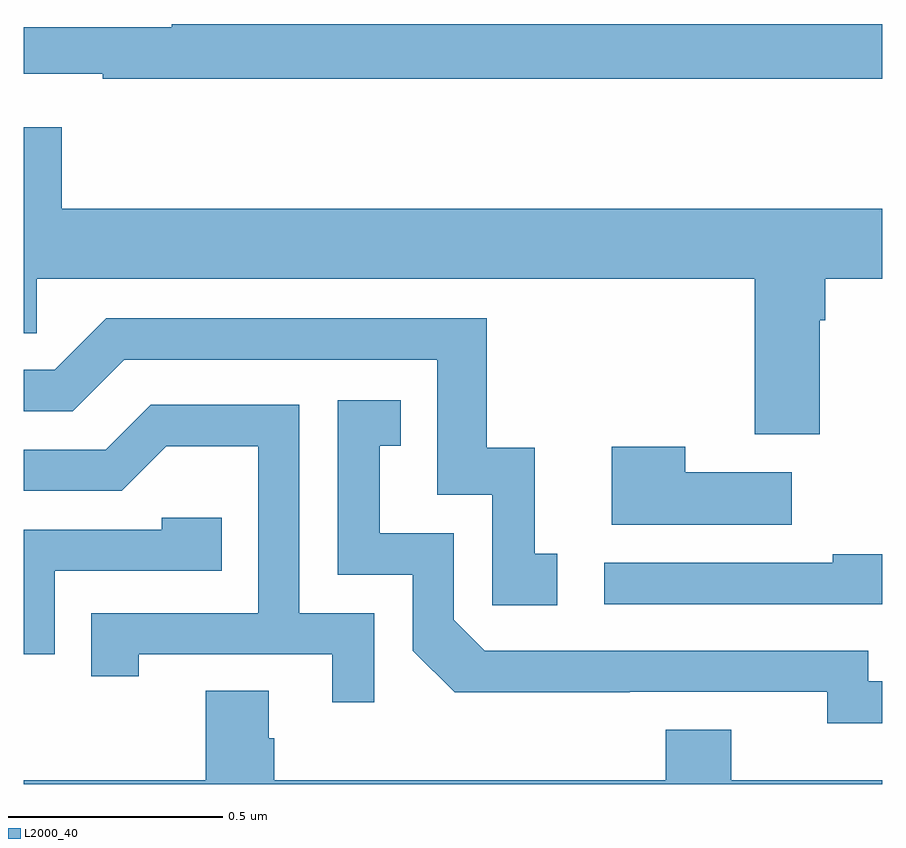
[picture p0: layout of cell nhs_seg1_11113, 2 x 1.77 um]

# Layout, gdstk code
import gdstk
lib = gdstk.Library(unit=1e-6, precision=1e-09)
def P(c, l, *ps):  # polygons
    for p in ps: c.add(gdstk.Polygon(p, *l))
L2000_40 = (2000, 40)

nhs_seg1_11113 = lib.new_cell('nhs_seg1_11113')
P(nhs_seg1_11113, L2000_40, [(251,574.97),(249.345,574.97),(249.345,574.963),(249,574.963),(249,574.854),(249.184,574.854),(249.184,574.842),(251,574.842)],
  [(250.855,574.28),(250.868,574.28),(250.868,574.376),(251,574.376),(251,574.54),(249.088,574.54),(249.088,574.729),(249,574.729),(249,574.249),(249.03,574.249),(249.03,574.376),(250.703,574.376),(250.703,574.014),(250.855,574.014)],
  [(250.243,573.735),(250.19,573.735),(250.19,573.982),(250.079,573.982),(250.079,574.284),(249.192,574.284),(249.072,574.164),(249,574.164),(249,574.068),(249.114,574.068),(249.234,574.188),(249.963,574.188),(249.963,573.873),(250.092,573.873),(250.092,573.615),(250.243,573.615)],
  [(251,573.438),(250.968,573.438),(250.968,573.51),(250.074,573.51),(250.002,573.582),(250.002,573.783),(249.829,573.783),(249.829,573.987),(249.878,573.987),(249.878,574.093),(249.732,574.093),(249.732,573.687),(249.906,573.687),(249.906,573.51),(250.004,573.413),(250.412,573.413),(250.412,573.414),(250.872,573.414),(250.872,573.341),(251,573.341)],
  [(249.816,573.597),(249.642,573.597),(249.642,574.083),(249.296,574.083),(249.191,573.978),(249,573.978),(249,573.882),(249.228,573.882),(249.332,573.986),(249.546,573.986),(249.546,573.597),(249.157,573.597),(249.157,573.45),(249.268,573.45),(249.268,573.501),(249.719,573.501),(249.719,573.39),(249.816,573.39)],
  [(250.789,573.925),(250.541,573.925),(250.541,573.985),(250.37,573.985),(250.37,573.803),(250.789,573.803)],
  [(249.072,573.696),(249.461,573.696),(249.461,573.819),(249.321,573.819),(249.321,573.792),(249,573.792),(249,573.501),(249.072,573.501)],
  [(251,573.734),(250.885,573.734),(250.885,573.714),(250.353,573.714),(250.353,573.618),(251,573.618)],
  [(251,573.208),(250.648,573.208),(250.648,573.325),(250.496,573.325),(250.496,573.208),(249.584,573.208),(249.584,573.306),(249.571,573.306),(249.571,573.416),(249.424,573.416),(249.424,573.208),(249,573.208),(249,573.199),(251,573.199)])

lib.write_gds('nhs_seg1_11113.gds')
